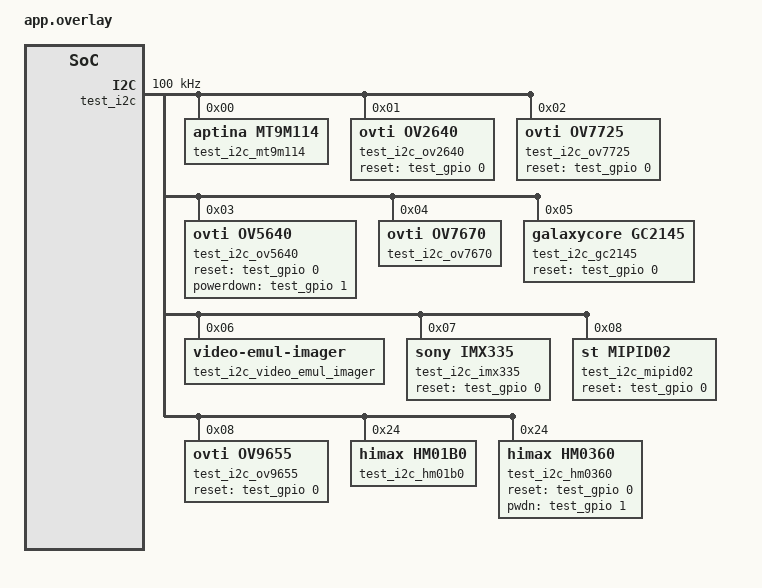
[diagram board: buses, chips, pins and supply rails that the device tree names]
/*
 * Copyright (c) 2022, Kumar Gala <galak@kernel.org>
 *
 * SPDX-License-Identifier: Apache-2.0
 *
 * Application overlay for testing driver builds
 *
 * Names in this file should be chosen in a way that won't conflict
 * with real-world devicetree nodes, to allow these tests to run on
 * (and be extended to test) real hardware.
 */

/ {
	imx335_input_clock: imx335-input-clock {
		compatible = "fixed-clock";
		clock-frequency = <24000000>;
		#clock-cells = <0>;
	};

	test {
		#address-cells = <1>;
		#size-cells = <1>;

		test_gpio: gpio@10001000 {
			compatible = "vnd,gpio";
			gpio-controller;
			reg = <0x10001000 0x1000>;
			#gpio-cells = <0x2>;
			status = "okay";
		};

		test_i2c: i2c@10002000 {
			#address-cells = <1>;
			#size-cells = <0>;
			compatible = "vnd,i2c";
			reg = <0x10002000 0x1000>;
			status = "okay";
			clock-frequency = <100000>;

			test_i2c_mt9m114: mt9m114@0 {
				compatible = "aptina,mt9m114";
				reg = <0>;
			};

			test_i2c_ov2640: ov2640@1 {
				compatible = "ovti,ov2640";
				reg = <0x1>;
				reset-gpios = <&test_gpio 0 0>;
			};

			test_i2c_ov7725: ov7725@2 {
				compatible = "ovti,ov7725";
				reg = <0x2>;
				reset-gpios = <&test_gpio 0 0>;
			};

			test_i2c_ov5640: ov5640@3 {
				compatible = "ovti,ov5640";
				reg = <0x3>;
				reset-gpios = <&test_gpio 0 0>;
				powerdown-gpios = <&test_gpio 1 0>;
			};

			test_i2c_ov7670: ov7670@4 {
				compatible = "ovti,ov7670";
				reg = <0x4>;
			};

			test_i2c_gc2145: gc2145@5 {
				compatible = "galaxycore,gc2145";
				reg = <0x5>;
				reset-gpios = <&test_gpio 0 0>;
			};

			test_i2c_video_emul_imager: video_emul_imager@6 {
				compatible = "zephyr,video-emul-imager";
				reg = <0x6>;

				port {
					test_video_emul_imager_ep_out: endpoint {
						remote-endpoint-label = "test_video_emul_rx_ep_in";
					};
				};
			};

			test_i2c_imx335: imx335@7 {
				compatible = "sony,imx335";
				reg = <0x7>;
				clocks = <&imx335_input_clock>;
				reset-gpios = <&test_gpio 0 0>;

				port {
					test_imx335_ep: endpoint {
						remote-endpoint-label = "test_mipid02_0";
					};
				};
			};

			test_i2c_mipid02: bridge@8 {
				compatible = "st,mipid02";
				reg = <0x8>;
				reset-gpios = <&test_gpio 0 0>;

				ports {
					#address-cells = <1>;
					#size-cells = <0>;

					port@0 {
						reg = <0>;

						test_mipid02_0: endpoint {
							data-lanes = <1 2>;
							remote-endpoint-label = "test_imx335_ep";
						};
					};

					port@2 {
						reg = <2>;

						test_mipid02_2: endpoint {
							hsync-active = <0>;
							vsync-active = <0>;
							pclk-sample = <0>;
							remote-endpoint-label = "parallel_receiver";
						};
					};
				};
			};

			test_i2c_ov9655: ov9655@8 {
				compatible = "ovti,ov9655";
				reg = <0x8>;
				reset-gpios = <&test_gpio 0 0>;
			};

			test_i2c_hm01b0: hm01b0@24 {
				compatible = "himax,hm01b0";
				reg = <0x24>;
				status = "okay";
				data-bits = <0x4>;

				port {
					hm01b0_ep_out: endpoint {
						remote-endpoint-label = "";
					};
				};
			};

			test_i2c_hm0360: hm0360@11 {
				compatible = "himax,hm0360";
				reg = <0x24>;
				status = "okay";
				reset-gpios = <&test_gpio 0 0>;
				pwdn-gpios = <&test_gpio 1 0>;

				port {
					hm0360_ep_out: endpoint {
						remote-endpoint-label = "";
					};
				};
			};
		};

		test_video_emul_rx: video_emul_rx@10003000 {
			compatible = "zephyr,video-emul-rx";
			reg = <0x10003000 0x1000>;

			port {
				#address-cells = <1>;
				#size-cells = <0>;

				test_video_emul_rx_ep_in: endpoint@0 {
					reg = <0x0>;
					remote-endpoint-label = "test_video_emul_imager_ep_out";
				};

				test_video_emul_rx_ep_out: endpoint@1 {
					reg = <0x1>;
					remote-endpoint-label = "application";
				};
			};
		};
	};
};
